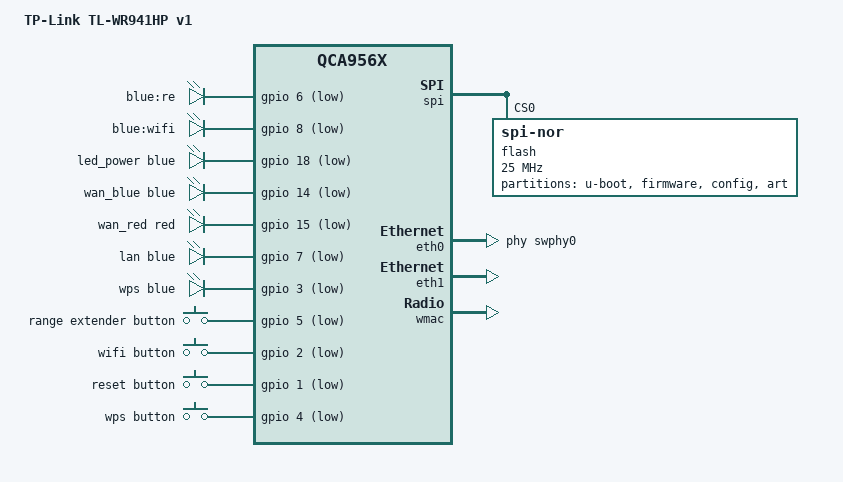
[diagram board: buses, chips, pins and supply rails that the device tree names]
// SPDX-License-Identifier: GPL-2.0-or-later OR MIT

#include "qca956x.dtsi"

#include <dt-bindings/gpio/gpio.h>
#include <dt-bindings/input/input.h>
#include <dt-bindings/leds/common.h>

/ {
	compatible = "tplink,tl-wr941hp-v1", "qca,tp9343";
	model = "TP-Link TL-WR941HP v1";

	aliases {
		label-mac-device = &wmac;
		led-boot = &led_power;
		led-failsafe = &led_power;
		led-running = &led_power;
		led-upgrade = &led_power;
	};

	leds {
		compatible = "gpio-leds";

		re {
			label = "blue:re";
			gpios = <&gpio 6 GPIO_ACTIVE_LOW>;
		};

		wifi {
			label = "blue:wifi";
			gpios = <&gpio 8 GPIO_ACTIVE_LOW>;
			linux,default-trigger = "phy0tpt";
		};

		led_power: power {
			function = LED_FUNCTION_POWER;
			color = <LED_COLOR_ID_BLUE>;
			gpios = <&gpio 18 GPIO_ACTIVE_LOW>;
			default-state = "on";
		};

		wan_blue {
			function = LED_FUNCTION_WAN;
			color = <LED_COLOR_ID_BLUE>;
			gpios = <&gpio 14 GPIO_ACTIVE_LOW>;
		};

		wan_red {
			function = LED_FUNCTION_WAN;
			color = <LED_COLOR_ID_RED>;
			gpios = <&gpio 15 GPIO_ACTIVE_LOW>;
		};

		lan {
			function = LED_FUNCTION_LAN;
			color = <LED_COLOR_ID_BLUE>;
			gpios = <&gpio 7 GPIO_ACTIVE_LOW>;
		};

		wps {
			function = LED_FUNCTION_WPS;
			color = <LED_COLOR_ID_BLUE>;
			gpios = <&gpio 3 GPIO_ACTIVE_LOW>;
		};
	};

	keys {
		compatible = "gpio-keys";

		re {
			label = "range extender button";
			linux,code = <BTN_0>;
			gpios = <&gpio 5 GPIO_ACTIVE_LOW>;
			debounce-interval = <60>;
		};

		wifi {
			label = "wifi button";
			linux,code = <KEY_RFKILL>;
			gpios = <&gpio 2 GPIO_ACTIVE_LOW>;
			debounce-interval = <60>;
		};

		reset {
			label = "reset button";
			linux,code = <KEY_RESTART>;
			gpios = <&gpio 1 GPIO_ACTIVE_LOW>;
			debounce-interval = <60>;
		};

		wps {
			label = "wps button";
			linux,code = <KEY_WPS_BUTTON>;
			gpios = <&gpio 4 GPIO_ACTIVE_LOW>;
			debounce-interval = <60>;
		};
	};
};

&spi {
	status = "okay";

	flash@0 {
		compatible = "jedec,spi-nor";
		reg = <0>;
		spi-max-frequency = <25000000>;

		partitions {
			compatible = "fixed-partitions";
			#address-cells = <1>;
			#size-cells = <1>;

			uboot: partition@0 {
				label = "u-boot";
				reg = <0x0 0x020000>;
				read-only;
			};

			partition@20000 {
				compatible = "tplink,firmware";
				label = "firmware";
				reg = <0x020000 0x730000>;
			};

			config: partition@750000 {
				label = "config";
				reg = <0x750000 0x0a0000>;
				read-only;

				nvmem-layout {
					compatible = "fixed-layout";
					#address-cells = <1>;
					#size-cells = <1>;

					macaddr_config_8: macaddr@8 {
						compatible = "mac-base";
						reg = <0x8 0x6>;
						#nvmem-cell-cells = <1>;
					};
				};
			};

			partition@7f0000 {
				label = "art";
				reg = <0x7f0000 0x010000>;
				read-only;

				nvmem-layout {
					compatible = "fixed-layout";
					#address-cells = <1>;
					#size-cells = <1>;

					cal_art_1000: calibration@1000 {
						reg = <0x1000 0x440>;
					};
				};
			};
		};
	};
};

&eth0 {
	status = "okay";

	phy-handle = <&swphy0>;

	nvmem-cells = <&macaddr_config_8 1>;
	nvmem-cell-names = "mac-address";
};

&eth1 {
	status = "okay";

	nvmem-cells = <&macaddr_config_8 0>;
	nvmem-cell-names = "mac-address";
};

&wmac {
	status = "okay";

	nvmem-cells = <&macaddr_config_8 0>, <&cal_art_1000>;
	nvmem-cell-names = "mac-address", "calibration";
};
